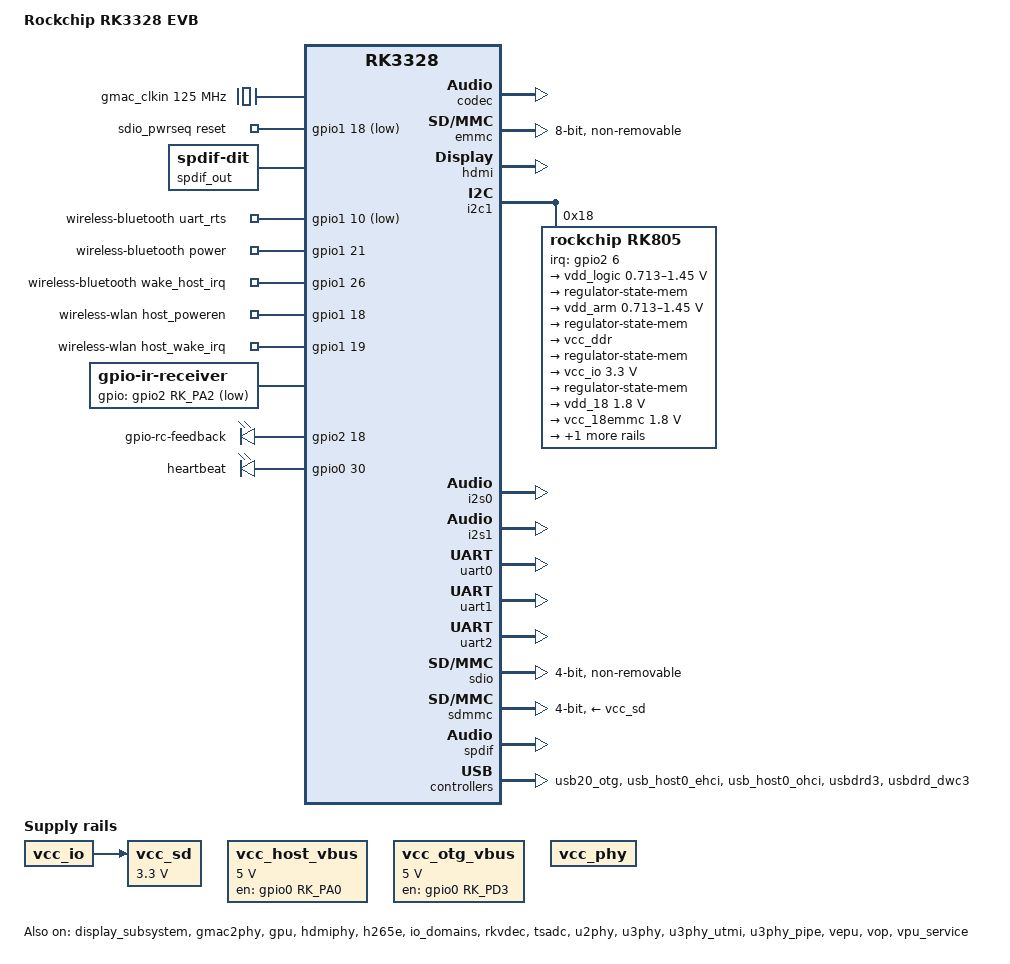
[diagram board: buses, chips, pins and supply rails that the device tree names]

/dts-v1/;
#include "rk3328.dtsi"
#include <dt-bindings/input/input.h>
/ {
	model = "Rockchip RK3328 EVB";
	compatible = "rockchip,rk3328-evb", "rockchip,rk3328";

	chosen {
		bootargs = "rockchip_jtag earlyprintk=uart8250-32bit,0xff130000";
	};

	fiq-debugger {
		compatible = "rockchip,fiq-debugger";
		rockchip,serial-id = <2>;
		rockchip,signal-irq = <159>;
		rockchip,wake-irq = <0>;
		rockchip,irq-mode-enable = <0>;
		rockchip,baudrate = <115200>;
		interrupts = <GIC_SPI 127 IRQ_TYPE_LEVEL_LOW>;
		status = "okay";
	};

	gmac_clkin: external-gmac-clock {
		compatible = "fixed-clock";
		clock-frequency = <125000000>;
		clock-output-names = "gmac_clkin";
		#clock-cells = <0>;
	};

	sdio_pwrseq: sdio-pwrseq {
		compatible = "mmc-pwrseq-simple";
		pinctrl-names = "default";
		pinctrl-0 = <&wifi_enable_h>;
		reset-gpios = <&gpio1 18 GPIO_ACTIVE_LOW>;
	};

	sound {		compatible = "simple-audio-card";
		simple-audio-card,format = "i2s";
		simple-audio-card,mclk-fs = <256>;
		simple-audio-card,name = "rockchip,rk3328";
		simple-audio-card,cpu {			sound-dai = <&i2s1>;
		};
		simple-audio-card,codec {			sound-dai = <&codec>;
		};
	};

	hdmi-sound {
		compatible = "simple-audio-card";
		simple-audio-card,format = "i2s";
		simple-audio-card,mclk-fs = <128>;
		simple-audio-card,name = "rockchip,hdmi";
		simple-audio-card,cpu {			sound-dai = <&i2s0>;
		};
		simple-audio-card,codec {			sound-dai = <&hdmi>;
		};
	};

	spdif-sound {
		compatible = "simple-audio-card";
		simple-audio-card,name = "rockchip,spdif";
		simple-audio-card,cpu {			sound-dai = <&spdif>;
		};
		simple-audio-card,codec {			sound-dai = <&spdif_out>;
		};
	};

    spdif_out: spdif-out {
        compatible = "linux,spdif-dit";
        #sound-dai-cells = <0>;
    };

	vcc_host_vbus: host-vbus-regulator {
		compatible = "regulator-fixed";
		gpio = <&gpio0 RK_PA0 GPIO_ACTIVE_HIGH>;
		pinctrl-names = "default";
		pinctrl-0 = <&host_vbus_drv>;
		regulator-name = "vcc_host_vbus";
		regulator-min-microvolt = <5000000>;
		regulator-max-microvolt = <5000000>;
		enable-active-high;
	};

        vcc_otg_vbus: otg-vbus-regulator {
            compatible = "regulator-fixed";
            gpio = <&gpio0 RK_PD3 GPIO_ACTIVE_HIGH>;
            pinctrl-names = "default";
            pinctrl-0 = <&otg_vbus_drv>;
            regulator-name = "vcc_otg_vbus";
            regulator-min-microvolt = <5000000>;
            regulator-max-microvolt = <5000000>;
            enable-active-high;
        };
        vcc_phy: vcc-phy-regulator {
            compatible = "regulator-fixed";
            regulator-name = "vcc_phy";
            regulator-always-on;
            regulator-boot-on;
        };
        vcc_sd: sdmmc-regulator {
            compatible = "regulator-fixed";
            pinctrl-names = "default";
            pinctrl-0 = <&sdmmc0m1_gpio>;
            regulator-name = "vcc_sd";
            regulator-min-microvolt = <3300000>;
            regulator-max-microvolt = <3300000>;
            vin-supply = <&vcc_io>;
        };

        wireless-bluetooth {
            compatible = "bluetooth-platdata";
            clocks = <&rk805 1>;
            clock-names = "ext_clock";
            uart_rts_gpios = <&gpio1 10 GPIO_ACTIVE_LOW>;
            pinctrl-names = "default", "rts_gpio";
            pinctrl-0 = <&uart0_rts>;
            pinctrl-1 = <&uart0_gpios>;
            BT,power_gpio = <&gpio1 21 GPIO_ACTIVE_HIGH>;
            BT,wake_host_irq = <&gpio1 26 GPIO_ACTIVE_HIGH>;
            status = "okay";
        };
        wireless-wlan {
            compatible = "wlan-platdata";
            rockchip,grf = <&grf>;
            wifi_chip_type = "rtl8723bs";
            sdio_vref = <3300>;
            WIFI,host_poweren_gpio = <&gpio1 18 GPIO_ACTIVE_HIGH>;
            WIFI,host_wake_irq = <&gpio1 19 GPIO_ACTIVE_HIGH>;
            pinctrl-names = "default";
            pinctrl-0 = <&bt_clk>;
            status = "okay";
        };

        ir-receiver {
            compatible = "gpio-ir-receiver";
            gpios = <&gpio2 RK_PA2 GPIO_ACTIVE_LOW>;
            pinctrl-names = "default";
            pinctrl-0 = <&ir_rx>;
        };
        gpio-leds {
            compatible = "gpio-leds";
                rc-feedback  {
                    label = "gpio-rc-feedback";
                    gpios = <&gpio2 18 GPIO_ACTIVE_HIGH>;
                    linux,default-trigger = "gpio-rc-feedback";
                };
                heartbeat  {
                    label = "heartbeat";
                    gpios = <&gpio0 30 GPIO_ACTIVE_HIGH>;
                    linux,default-trigger = "heartbeat";
                };
        };
};
&pinctrl {
	ir {
		ir_rx: ir-rx {
			rockchip,pins = <2 RK_PA2 RK_FUNC_1 &pcfg_pull_none>;
		};
	};

	pmic {
		pmic_int_l: pmic-int-l {
		rockchip,pins =<2 RK_PA6 RK_FUNC_GPIO &pcfg_pull_up>;
		};
	};

	sdio-pwrseq {
		wifi_enable_h: wifi-enable-h {
		rockchip,pins =<1 18 RK_FUNC_GPIO &pcfg_pull_none>;
		};
	};

	usb {
		host_vbus_drv: host-vbus-drv {
			rockchip,pins =<0 RK_PA0 RK_FUNC_GPIO &pcfg_pull_none>;
		};

		otg_vbus_drv: otg-vbus-drv {
			rockchip,pins =<0 RK_PD3 RK_FUNC_GPIO &pcfg_pull_none>;
		};
	};
        wireless-bluetooth {
                uart0_gpios: uart0-gpios {
                rockchip,pins =<1 10 RK_FUNC_GPIO &pcfg_pull_none>;
                };
        };
        clkout32k {
                bt_clk: bt-clk {
                rockchip,pins =<1 RK_PD4 RK_FUNC_1 &pcfg_pull_up>;
                };
        };
};
&codec {
	#sound-dai-cells = <0>;
	status = "okay";
};

&cpu0 {
	cpu-supply = <&vdd_arm>;
};

&display_subsystem {
	status = "okay";
};

&emmc {
	bus-width = <8>;
	cap-mmc-highspeed;
	mmc-hs200-1_8v;
	supports-emmc;
	disable-wp;
	non-removable;
	num-slots = <1>;
	pinctrl-names = "default";
	pinctrl-0 = <&emmc_clk &emmc_cmd &emmc_bus8>;
	status = "okay";
};

&gmac2io {
	phy-supply = <&vcc_phy>;
	phy-mode = "rgmii";
	clock_in_out = "input";
	snps,reset-gpio = <&gpio1 RK_PC2 GPIO_ACTIVE_LOW>;
	snps,reset-active-low;
	snps,reset-delays-us = <0 10000 50000>;
	assigned-clocks = <&cru SCLK_MAC2IO>, <&cru SCLK_MAC2IO_EXT>;
	assigned-clock-parents = <&gmac_clkin>, <&gmac_clkin>;
	pinctrl-names = "default";
	pinctrl-0 = <&rgmiim1_pins>;
	tx_delay = <0x26>;
	rx_delay = <0x11>;
	status = "disabled";
};

&gmac2phy {
	phy-supply = <&vcc_phy>;
	clock_in_out = "output";
	assigned-clocks = <&cru SCLK_MAC2PHY_SRC>;
	assigned-clock-rate = <50000000>;
	assigned-clocks = <&cru SCLK_MAC2PHY>;
	assigned-clock-parents = <&cru SCLK_MAC2PHY_SRC>;
	status = "okay";
};

&gpu {	status = "okay";
	mali-supply = <&vdd_logic>;
};

&hdmi {	#sound-dai-cells = <0>;
	ddc-i2c-scl-high-time-ns = <9625>;
	ddc-i2c-scl-low-time-ns = <10000>;
	status = "okay";
};

&hdmiphy {	status = "okay";
};

&i2c1 {
	status = "okay";
	rk805: rk805@18 {
		compatible = "rockchip,rk805";
		status = "okay";
		reg = <0x18>;
		interrupt-parent = <&gpio2>;
		interrupts = <6 IRQ_TYPE_LEVEL_LOW>;
		pinctrl-names = "default";
		pinctrl-0 = <&pmic_int_l> ;
		rockchip,system-power-controller;
		wakeup-source;
		gpio-controller;
		#gpio-cells = <2>;
		#clock-cells = <1>;
		clock-output-names = "xin32k", "rk805-clkout2";
		rtc {
			status = "okay";
		};

		pwrkey {
			status = "okay";
		};

		gpio {
			status = "okay";
		};

		regulators {
			compatible = "rk805-regulator";
			status = "okay";
			#address-cells = <1>;
			#size-cells = <0>;
			vdd_logic: RK805_DCDC1 {				regulator-compatible = "RK805_DCDC1";
				regulator-name = "vdd_logic";
				regulator-min-microvolt = <712500>;
				regulator-max-microvolt = <1450000>;
				regulator-initial-mode = <0x1>;
				regulator-ramp-delay = <12500>;
				regulator-boot-on;
				regulator-always-on;
				regulator-state-mem {					regulator-mode = <0x2>;
					regulator-on-in-suspend;
					regulator-suspend-microvolt = <1000000>;
				};
			};

			vdd_arm: RK805_DCDC2 {
				regulator-compatible = "RK805_DCDC2";
				regulator-name = "vdd_arm";
				regulator-min-microvolt = <712500>;
				regulator-max-microvolt = <1450000>;
				regulator-initial-mode = <0x1>;
				regulator-ramp-delay = <12500>;
				regulator-boot-on;
				regulator-always-on;
				regulator-state-mem {					regulator-mode = <0x2>;
					regulator-on-in-suspend;
					regulator-suspend-microvolt = <950000>;
				};
			};

			vcc_ddr: RK805_DCDC3 {
				regulator-compatible = "RK805_DCDC3";
				regulator-name = "vcc_ddr";
				regulator-initial-mode = <0x1>;
				regulator-boot-on;
				regulator-always-on;
				regulator-state-mem {					regulator-mode = <0x2>;
					regulator-on-in-suspend;
				};
			};

			vcc_io: RK805_DCDC4 {
				regulator-compatible = "RK805_DCDC4";
				regulator-name = "vcc_io";
				regulator-min-microvolt = <3300000>;
				regulator-max-microvolt = <3300000>;
				regulator-initial-mode = <0x1>;
				regulator-boot-on;
				regulator-always-on;
				regulator-state-mem {					regulator-mode = <0x2>;
					regulator-on-in-suspend;
					regulator-suspend-microvolt = <3300000>;
				};
			};

			vdd_18: RK805_LDO1 {
				regulator-compatible = "RK805_LDO1";
				regulator-name = "vdd_18";
				regulator-min-microvolt = <1800000>;
				regulator-max-microvolt = <1800000>;
				regulator-boot-on;
				regulator-always-on;
				regulator-state-mem {					regulator-on-in-suspend;
					regulator-suspend-microvolt = <1800000>;
				};
			};

			vcc_18emmc: RK805_LDO2 {
				regulator-compatible = "RK805_LDO2";
				regulator-name = "vcc_18emmc";
				regulator-min-microvolt = <1800000>;
				regulator-max-microvolt = <1800000>;
				regulator-boot-on;
				regulator-always-on;
				regulator-state-mem {					regulator-on-in-suspend;
					regulator-suspend-microvolt = <1800000>;
				};
			};

			vdd_11: RK805_LDO3 {
				regulator-compatible = "RK805_LDO3";
				regulator-name = "vdd_11";
				regulator-min-microvolt = <1100000>;
				regulator-max-microvolt = <1100000>;
				regulator-boot-on;
				regulator-always-on;
				regulator-state-mem {					regulator-on-in-suspend;
					regulator-suspend-microvolt = <1100000>;
				};
			};
		};
	};
};

&h265e {	status = "okay";
};

&i2s0 {	#sound-dai-cells = <0>;
	rockchip,bclk-fs = <128>;
	status = "okay";
};

&i2s1 {	#sound-dai-cells = <0>;
	status = "okay";
};

&io_domains {	status = "okay";
	vccio1-supply = <&vcc_io>;
	vccio2-supply = <&vcc_18emmc>;
	vccio3-supply = <&vcc_io>;
	vccio4-supply = <&vdd_18>;
	vccio5-supply = <&vcc_io>;
	vccio6-supply = <&vcc_io>;
	pmuio-supply = <&vcc_io>;
};


&rkvdec {
	status = "okay";
};

&uart0 {
        pinctrl-names = "default";
        pinctrl-0 = <&uart0_xfer &uart0_cts>;
        status = "okay";
};

&uart1 {
        status = "okay";
};
&uart2 {
        status = "okay";
};

&sdio {
	bus-width = <4>;
	cap-sd-highspeed;
	cap-sdio-irq;
	disable-wp;
	keep-power-in-suspend;
	max-frequency = <150000000>;
	mmc-pwrseq = <&sdio_pwrseq>;
	non-removable;
	num-slots = <1>;
	pinctrl-names = "default";
	pinctrl-0 = <&sdmmc1_bus4 &sdmmc1_cmd &sdmmc1_clk>;
	supports-sdio;
	status = "okay";
};

&sdmmc {
	bus-width = <4>;
	cap-mmc-highspeed;
	cap-sd-highspeed;
	disable-wp;
	max-frequency = <150000000>;
	num-slots = <1>;
	pinctrl-names = "default";
	pinctrl-0 = <&sdmmc0_clk &sdmmc0_cmd &sdmmc0_dectn &sdmmc0_bus4>;
	supports-sd;
	status = "okay";
	vmmc-supply = <&vcc_sd>;
};

&spdif {
	#sound-dai-cells = <0>;
	status = "okay";
};

&tsadc {
	status = "okay";
};

&u2phy {
	status = "okay";
	u2phy_host: host-port {
		status = "okay";
	};
	u2phy_otg: otg-port {
		vbus-supply = <&vcc_otg_vbus>;
		status = "okay";
	};
};

&u3phy {
	vbus-supply = <&vcc_host_vbus>;
	status = "okay";
};

&u3phy_utmi {
	status = "okay";
};

&u3phy_pipe {
	status = "okay";
};

&usb20_otg {
	status = "okay";
};

&usb_host0_ehci {
	status = "okay";
};

&usb_host0_ohci {
	status = "okay";
};

&usbdrd3 {
	status = "okay";
};

&usbdrd_dwc3 {
	status = "okay";
};

&vepu {
	status = "okay";
};

&vop {
	status = "okay";
};

&vop_mmu {
	status = "okay";
};

&vpu_service {
	status = "okay";
};
